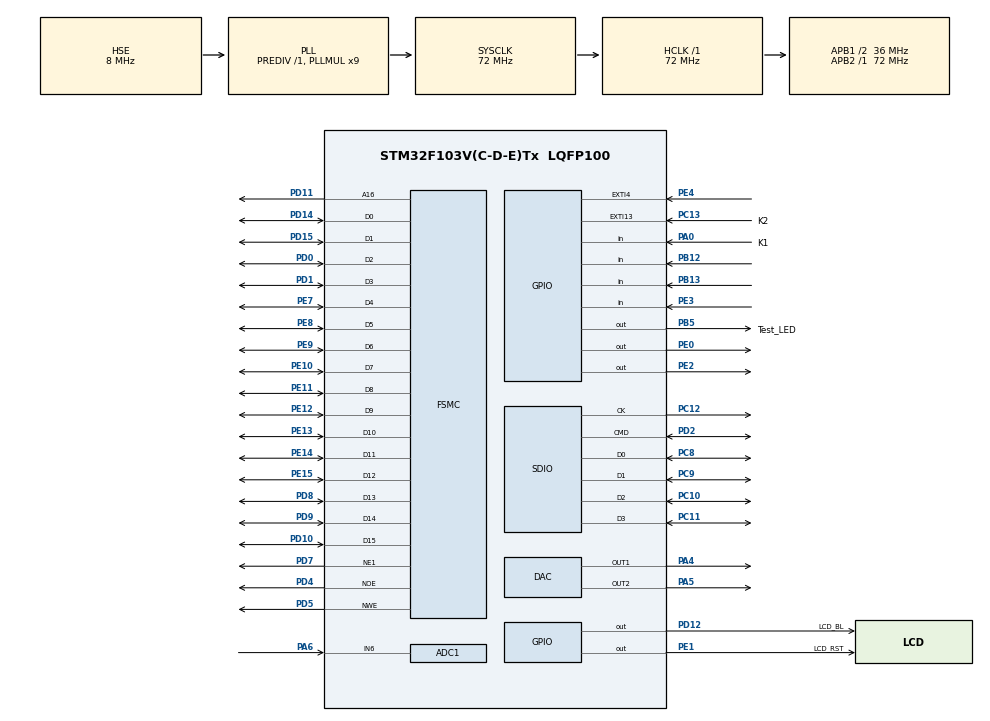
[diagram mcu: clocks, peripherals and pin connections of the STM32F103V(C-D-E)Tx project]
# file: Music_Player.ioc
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ADC1.Channel-11\#ChannelRegularConversion=ADC_CHANNEL_6
ADC1.ContinuousConvMode=ENABLE
ADC1.NbrOfConversion=1
ADC1.NbrOfConversionFlag=1
ADC1.Rank-11\#ChannelRegularConversion=1
ADC1.SamplingTime-11\#ChannelRegularConversion=ADC_SAMPLETIME_1CYCLE_5
ADC1.master=1
DAC.DAC_OutputBuffer=DAC_OUTPUTBUFFER_ENABLE
DAC.DAC_OutputBuffer2=DAC_OUTPUTBUFFER_ENABLE
DAC.DAC_Trigger=DAC_TRIGGER_T2_TRGO
DAC.DAC_Trigger2=DAC_TRIGGER_T2_TRGO
Dma.ADC1.2.Direction=DMA_PERIPH_TO_MEMORY
Dma.ADC1.2.Instance=DMA1_Channel1
Dma.ADC1.2.MemDataAlignment=DMA_MDATAALIGN_HALFWORD
Dma.ADC1.2.MemInc=DMA_MINC_DISABLE
Dma.ADC1.2.Mode=DMA_CIRCULAR
Dma.ADC1.2.PeriphDataAlignment=DMA_PDATAALIGN_HALFWORD
Dma.ADC1.2.PeriphInc=DMA_PINC_DISABLE
Dma.ADC1.2.Priority=DMA_PRIORITY_LOW
Dma.DAC_CH1.0.Direction=DMA_MEMORY_TO_PERIPH
Dma.DAC_CH1.0.Instance=DMA2_Channel3
Dma.DAC_CH1.0.MemDataAlignment=DMA_MDATAALIGN_HALFWORD
Dma.DAC_CH1.0.MemInc=DMA_MINC_ENABLE
Dma.DAC_CH1.0.Mode=DMA_NORMAL
Dma.DAC_CH1.0.PeriphDataAlignment=DMA_PDATAALIGN_HALFWORD
Dma.DAC_CH1.0.PeriphInc=DMA_PINC_DISABLE
Dma.DAC_CH1.0.Priority=DMA_PRIORITY_VERY_HIGH
Dma.DAC_CH2.1.Direction=DMA_MEMORY_TO_PERIPH
Dma.DAC_CH2.1.Instance=DMA2_Channel4
Dma.DAC_CH2.1.MemDataAlignment=DMA_MDATAALIGN_HALFWORD
Dma.DAC_CH2.1.MemInc=DMA_MINC_ENABLE
Dma.DAC_CH2.1.Mode=DMA_NORMAL
Dma.DAC_CH2.1.PeriphDataAlignment=DMA_PDATAALIGN_HALFWORD
Dma.DAC_CH2.1.PeriphInc=DMA_PINC_DISABLE
Dma.DAC_CH2.1.Priority=DMA_PRIORITY_VERY_HIGH
Dma.Request0=DAC_CH1
Dma.Request1=DAC_CH2
Dma.Request2=ADC1
FATFS._CODE_PAGE=950
FATFS._FS_LOCK=0
FATFS._FS_READONLY=1
FATFS._FS_RPATH=2
FATFS._MAX_LFN=63
FATFS._MAX_SS=4096
FATFS._USE_FIND=1
FATFS._USE_LFN=2
Mcu.Family=STM32F1
Mcu.Name=STM32F103V(C-D-E)Tx
Mcu.Package=LQFP100
NVIC.DMA1_Channel1_IRQn=true\:5\:0\:true\:false\:true\:false\:true
NVIC.DMA2_Channel3_IRQn=true\:0\:0\:true\:false\:true\:false\:true
NVIC.DMA2_Channel4_5_IRQn=true\:0\:0\:true\:false\:true\:false\:true
NVIC.EXTI15_10_IRQn=true\:1\:0\:true\:false\:true\:true\:true
NVIC.PVD_IRQn=true\:0\:0\:false\:false\:true\:true\:true
NVIC.PriorityGroup=NVIC_PRIORITYGROUP_4
NVIC.SDIO_IRQn=true\:0\:0\:false\:false\:true\:true\:true
OSC_IN.Mode=HSE-External-Oscillator
OSC_IN.Signal=RCC_OSC_IN
OSC_OUT.Mode=HSE-External-Oscillator
OSC_OUT.Signal=RCC_OSC_OUT
PA0-WKUP.GPIO_Label=K1
PA0-WKUP.Signal=GPIO_Input
PA13.Mode=Serial_Wire
PA13.Signal=SYS_JTMS-SWDIO
PA14.Mode=Serial_Wire
PA14.Signal=SYS_JTCK-SWCLK
PA4.Signal=COMP_DAC1_group
PA5.Signal=COMP_DAC2_group
PA6.Signal=ADCx_IN6
PB12.GPIO_PuPd=GPIO_PULLDOWN
PB12.Signal=GPIO_Input
PB13.GPIO_PuPd=GPIO_PULLDOWN
PB13.Signal=GPIO_Input
PB5.GPIO_Label=Test_LED
PB5.GPIO_Speed=GPIO_SPEED_FREQ_HIGH
PB5.Signal=GPIO_Output
PC10.Mode=SD_4_bits_Wide_bus
PC10.Signal=SDIO_D2
PC11.Mode=SD_4_bits_Wide_bus
PC11.Signal=SDIO_D3
PC12.Mode=SD_4_bits_Wide_bus
PC12.Signal=SDIO_CK
PC13-TAMPER-RTC.GPIO_Label=K2
PC13-TAMPER-RTC.Signal=GPXTI13
PC14-OSC32_IN.Mode=LSE-External-Oscillator
PC14-OSC32_IN.Signal=RCC_OSC32_IN
PC15-OSC32_OUT.Mode=LSE-External-Oscillator
PC15-OSC32_OUT.Signal=RCC_OSC32_OUT
PC8.Mode=SD_4_bits_Wide_bus
PC8.Signal=SDIO_D0
PC9.Mode=SD_4_bits_Wide_bus
PC9.Signal=SDIO_D1
PD0.Mode=16b-d1
PD0.Signal=FSMC_D2
PD1.Mode=16b-d1
PD1.Signal=FSMC_D3
PD10.Mode=16b-d1
PD10.Signal=FSMC_D15
PD11.Mode=A16_1
PD11.Signal=FSMC_A16
PD12.GPIO_Label=LCD_BL
PD12.GPIO_Speed=GPIO_SPEED_FREQ_HIGH
PD12.Signal=GPIO_Output
PD14.Mode=16b-d1
PD14.Signal=FSMC_D0
PD15.Mode=16b-d1
PD15.Signal=FSMC_D1
PD2.Mode=SD_4_bits_Wide_bus
PD2.Signal=SDIO_CMD
PD4.Mode=Lcd1
PD4.Signal=FSMC_NOE
PD5.Mode=Lcd1
PD5.Signal=FSMC_NWE
PD7.Mode=NorPsramChipSelect1_1
PD7.Signal=FSMC_NE1
PD8.Mode=16b-d1
PD8.Signal=FSMC_D13
PD9.Mode=16b-d1
PD9.Signal=FSMC_D14
PE0.GPIO_Speed=GPIO_SPEED_FREQ_HIGH
PE0.Signal=GPIO_Output
PE1.GPIO_Label=LCD_RST
PE1.GPIO_Speed=GPIO_SPEED_FREQ_HIGH
PE1.Signal=GPIO_Output
PE10.Mode=16b-d1
PE10.Signal=FSMC_D7
PE11.Mode=16b-d1
PE11.Signal=FSMC_D8
PE12.Mode=16b-d1
PE12.Signal=FSMC_D9
PE13.Mode=16b-d1
PE13.Signal=FSMC_D10
PE14.Mode=16b-d1
PE14.Signal=FSMC_D11
PE15.Mode=16b-d1
PE15.Signal=FSMC_D12
PE2.GPIO_Speed=GPIO_SPEED_FREQ_HIGH
PE2.Signal=GPIO_Output
PE3.Signal=GPIO_Input
PE4.Signal=GPXTI4
PE7.Mode=16b-d1
PE7.Signal=FSMC_D4
PE8.Mode=16b-d1
PE8.Signal=FSMC_D5
PE9.Mode=16b-d1
PE9.Signal=FSMC_D6
ProjectManager.HeapSize=0x200
ProjectManager.StackSize=0x4000
ProjectManager.TargetToolchain=Makefile
RCC.ADCPresc=RCC_ADCPCLK2_DIV6
RCC.AHBFreq_Value=72000000
RCC.APB1CLKDivider=RCC_HCLK_DIV2
RCC.APB1Freq_Value=36000000
RCC.APB1TimFreq_Value=72000000
RCC.APB2Freq_Value=72000000
RCC.APB2TimFreq_Value=72000000
RCC.HCLKFreq_Value=72000000
RCC.PLLMUL=RCC_PLL_MUL9
RCC.PLLSourceVirtual=RCC_PLLSOURCE_HSE
RCC.SYSCLKFreq_VALUE=72000000
RCC.SYSCLKSource=RCC_SYSCLKSOURCE_PLLCLK
RCC.USBFreq_Value=72000000
SDIO.ClockDiv=2
SH.ADCx_IN6.0=ADC1_IN6,IN6
SH.COMP_DAC1_group.0=DAC_OUT1,DAC_OUT1
SH.COMP_DAC2_group.0=DAC_OUT2,DAC_OUT2
TIM2.Period=0
TIM2.Prescaler=0
TIM2.TIM_MasterOutputTrigger=TIM_TRGO_UPDATE
VP_FATFS_VS_SDIO.Mode=SDIO
VP_TIM2_VS_ClockSourceINT.Mode=Internal
board=custom

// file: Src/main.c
/* USER CODE BEGIN Header */
/**
 ******************************************************************************
 * @file           : main.c
 * @brief          : Main program body
 ******************************************************************************
 * @attention
 *
 * <h2><center>&copy; Copyright (c) 2019 STMicroelectronics.
 * All rights reserved.</center></h2>
 *
 * This software component is licensed by ST under Ultimate Liberty license
 * SLA0044, the "License"; You may not use this file except in compliance with
 * the License. You may obtain a copy of the License at:
 *                             www.st.com/SLA0044
 *
 ******************************************************************************
 */
/* USER CODE END Header */

#include "main.h"
#include "fatfs.h"

/* USER CODE BEGIN Includes */
//Fatfs Function
#include "ff.h"
//Debug Printf for OpenOCD
#include "Trace.h"

#include "stdbool.h"
#include "UI.c"
#include "lcd.h"
#include "DIR.h"
#include "bsp_xpt2046_lcd.c"

#include "player.h"

/* USER CODE END Includes */

ADC_HandleTypeDef hadc1;
DMA_HandleTypeDef hdma_adc1;

DAC_HandleTypeDef hdac;
DMA_HandleTypeDef hdma_dac_ch1;
DMA_HandleTypeDef hdma_dac_ch2;

SD_HandleTypeDef hsd;

TIM_HandleTypeDef htim2;

SRAM_HandleTypeDef hsram1;

/* USER CODE BEGIN PV */
strType_XPT2046_Coordinate TP_Coordinate;
/* USER CODE END PV */

void SystemClock_Config(void);
static void MX_GPIO_Init(void);
static void MX_DMA_Init(void);
static void MX_FSMC_Init(void);
static void MX_SDIO_SD_Init(void);
static void MX_DAC_Init(void);
static void MX_TIM2_Init(void);
static void MX_ADC1_Init(void);

int main(void) {

	/* MCU Configuration--------------------------------------------------------*/

	/* Reset of all peripherals, Initializes the Flash interface and the Systick. */
	HAL_Init();

	/* Configure the system clock */
	SystemClock_Config();

	/* Initialize all configured peripherals */
	MX_GPIO_Init();
	MX_DMA_Init();
	MX_FSMC_Init();
	MX_SDIO_SD_Init();
	MX_FATFS_Init();
	MX_DAC_Init();
	MX_TIM2_Init();
	MX_ADC1_Init();
	/* USER CODE BEGIN 2 */
	HAL_GPIO_WritePin(GPIOB, GPIO_PIN_5, GPIO_PIN_SET);
	//Music Player codeing
	FATFS myFATAFS;
	int mount = 1;
	/*
	 * Wav:
	 * 8_Mono
	 * 8_Stereo
	 * 16_Mono
	 * 16_Stereo
	 * TEST
	 * file_example_WAV_1MG
	 * file_example_WAV_2MG
	 * file_example_WAV_5MG
	 * file_example_WAV_10MG
	 */

	mount = (f_mount(&myFATAFS, SDPath, 1) == FR_OK);
	if (mount == 1) {
//		trace_printf("Finish Mount\n");
		UI_INIT();
//		player("/Example_mono.ogg");
//		player("/Example.ogg");
//		player("/Example_mono_lowF.ogg");
//		oggPlayer("/Rudolph_The_RedNosed_Reindeer.ogg");
	}

	/* USER CODE END 2 */

	/* Infinite loop */
	/* USER CODE BEGIN WHILE */
	HAL_ADCEx_Calibration_Start(&hadc1);
//	HAL_ADC_Start(&hadc1);
	GPIO_PinState pin12, pin13;
	int barValue = 0, last = 0;
	while (1) {
		barValue = getTimePercentage();
		if (XPT2046_Get_TouchedPoint(&TP_Coordinate, &strXPT2046_TouchPara)) {
			trace_printf("kkk");
			Check_touchkey();
		}
		int K1 = HAL_GPIO_ReadPin(GPIOA, GPIO_PIN_0);
		int K2 = HAL_GPIO_ReadPin(GPIOC, GPIO_PIN_13);

		pin12 = HAL_GPIO_ReadPin(GPIOB, GPIO_PIN_12);
		pin13 = HAL_GPIO_ReadPin(GPIOB, GPIO_PIN_13);

		if (pin12) {
			cursorUP();
		}
		if (pin13) {
			cursorDown();
		}
		if (barValue != last) {
			bar_update();
		}
		last = barValue;
		/* USER CODE END WHILE */

	}
}

void SystemClock_Config(void) {
	RCC_OscInitTypeDef RCC_OscInitStruct = { 0 };
	RCC_ClkInitTypeDef RCC_ClkInitStruct = { 0 };
	RCC_PeriphCLKInitTypeDef PeriphClkInit = { 0 };

	/** Initializes the CPU, AHB and APB busses clocks
	 */
	RCC_OscInitStruct.OscillatorType = RCC_OSCILLATORTYPE_HSE;
	RCC_OscInitStruct.HSEState = RCC_HSE_ON;
	RCC_OscInitStruct.HSEPredivValue = RCC_HSE_PREDIV_DIV1;
	RCC_OscInitStruct.HSIState = RCC_HSI_ON;
	RCC_OscInitStruct.PLL.PLLState = RCC_PLL_ON;
	RCC_OscInitStruct.PLL.PLLSource = RCC_PLLSOURCE_HSE;
	RCC_OscInitStruct.PLL.PLLMUL = RCC_PLL_MUL9;
	if (HAL_RCC_OscConfig(&RCC_OscInitStruct) != HAL_OK) {
		Error_Handler();
	}
	/** Initializes the CPU, AHB and APB busses clocks
	 */
	RCC_ClkInitStruct.ClockType = RCC_CLOCKTYPE_HCLK | RCC_CLOCKTYPE_SYSCLK
			| RCC_CLOCKTYPE_PCLK1 | RCC_CLOCKTYPE_PCLK2;
	RCC_ClkInitStruct.SYSCLKSource = RCC_SYSCLKSOURCE_PLLCLK;
	RCC_ClkInitStruct.AHBCLKDivider = RCC_SYSCLK_DIV1;
	RCC_ClkInitStruct.APB1CLKDivider = RCC_HCLK_DIV2;
	RCC_ClkInitStruct.APB2CLKDivider = RCC_HCLK_DIV1;

	if (HAL_RCC_ClockConfig(&RCC_ClkInitStruct, FLASH_LATENCY_2) != HAL_OK) {
		Error_Handler();
	}
	PeriphClkInit.PeriphClockSelection = RCC_PERIPHCLK_ADC;
	PeriphClkInit.AdcClockSelection = RCC_ADCPCLK2_DIV6;
	if (HAL_RCCEx_PeriphCLKConfig(&PeriphClkInit) != HAL_OK) {
		Error_Handler();
	}
}

static void MX_ADC1_Init(void) {

	ADC_ChannelConfTypeDef sConfig = { 0 };

	/** Common config
	 */
	hadc1.Instance = ADC1;
	hadc1.Init.ScanConvMode = ADC_SCAN_DISABLE;
	hadc1.Init.ContinuousConvMode = ENABLE;
	hadc1.Init.DiscontinuousConvMode = DISABLE;
	hadc1.Init.ExternalTrigConv = ADC_SOFTWARE_START;
	hadc1.Init.DataAlign = ADC_DATAALIGN_RIGHT;
	hadc1.Init.NbrOfConversion = 1;
	if (HAL_ADC_Init(&hadc1) != HAL_OK) {
		Error_Handler();
	}
	/** Configure Regular Channel
	 */
	sConfig.Channel = ADC_CHANNEL_6;
	sConfig.Rank = ADC_REGULAR_RANK_1;
	sConfig.SamplingTime = ADC_SAMPLETIME_1CYCLE_5;
	if (HAL_ADC_ConfigChannel(&hadc1, &sConfig) != HAL_OK) {
		Error_Handler();
	}

}

static void MX_DAC_Init(void) {

	DAC_ChannelConfTypeDef sConfig = { 0 };

	/** DAC Initialization
	 */
	hdac.Instance = DAC;
	if (HAL_DAC_Init(&hdac) != HAL_OK) {
		Error_Handler();
	}
	/** DAC channel OUT1 config
	 */
	sConfig.DAC_Trigger = DAC_TRIGGER_T2_TRGO;
	sConfig.DAC_OutputBuffer = DAC_OUTPUTBUFFER_ENABLE;
	if (HAL_DAC_ConfigChannel(&hdac, &sConfig, DAC_CHANNEL_1) != HAL_OK) {
		Error_Handler();
	}
	/** DAC channel OUT2 config
	 */
	if (HAL_DAC_ConfigChannel(&hdac, &sConfig, DAC_CHANNEL_2) != HAL_OK) {
		Error_Handler();
	}

}

static void MX_SDIO_SD_Init(void) {

	hsd.Instance = SDIO;
	hsd.Init.ClockEdge = SDIO_CLOCK_EDGE_RISING;
	hsd.Init.ClockBypass = SDIO_CLOCK_BYPASS_DISABLE;
	hsd.Init.ClockPowerSave = SDIO_CLOCK_POWER_SAVE_DISABLE;
	hsd.Init.BusWide = SDIO_BUS_WIDE_1B;
	hsd.Init.HardwareFlowControl = SDIO_HARDWARE_FLOW_CONTROL_DISABLE;
	hsd.Init.ClockDiv = 2;

}

static void MX_TIM2_Init(void) {

	TIM_ClockConfigTypeDef sClockSourceConfig = { 0 };
	TIM_MasterConfigTypeDef sMasterConfig = { 0 };

	htim2.Instance = TIM2;
	htim2.Init.Prescaler = 0;
	htim2.Init.CounterMode = TIM_COUNTERMODE_UP;
	htim2.Init.Period = 0;
	htim2.Init.ClockDivision = TIM_CLOCKDIVISION_DIV1;
	htim2.Init.AutoReloadPreload = TIM_AUTORELOAD_PRELOAD_DISABLE;
	if (HAL_TIM_Base_Init(&htim2) != HAL_OK) {
		Error_Handler();
	}
	sClockSourceConfig.ClockSource = TIM_CLOCKSOURCE_INTERNAL;
	if (HAL_TIM_ConfigClockSource(&htim2, &sClockSourceConfig) != HAL_OK) {
		Error_Handler();
	}
	sMasterConfig.MasterOutputTrigger = TIM_TRGO_UPDATE;
	sMasterConfig.MasterSlaveMode = TIM_MASTERSLAVEMODE_DISABLE;
	if (HAL_TIMEx_MasterConfigSynchronization(&htim2, &sMasterConfig)
			!= HAL_OK) {
		Error_Handler();
	}

}

static void MX_DMA_Init(void) {
	/* DMA controller clock enable */
	__HAL_RCC_DMA2_CLK_ENABLE();
	__HAL_RCC_DMA1_CLK_ENABLE();

	/* DMA interrupt init */
	/* DMA1_Channel1_IRQn interrupt configuration */
	HAL_NVIC_SetPriority(DMA1_Channel1_IRQn, 5, 0);
	HAL_NVIC_EnableIRQ(DMA1_Channel1_IRQn);
	/* DMA2_Channel3_IRQn interrupt configuration */
	HAL_NVIC_SetPriority(DMA2_Channel3_IRQn, 0, 0);
	HAL_NVIC_EnableIRQ(DMA2_Channel3_IRQn);
	/* DMA2_Channel4_5_IRQn interrupt configuration */
	HAL_NVIC_SetPriority(DMA2_Channel4_5_IRQn, 0, 0);
	HAL_NVIC_EnableIRQ(DMA2_Channel4_5_IRQn);

}

static void MX_GPIO_Init(void) {
	GPIO_InitTypeDef GPIO_InitStruct = { 0 };

	/* GPIO Ports Clock Enable */
	__HAL_RCC_GPIOE_CLK_ENABLE();
	__HAL_RCC_GPIOC_CLK_ENABLE();
	__HAL_RCC_GPIOA_CLK_ENABLE();
	__HAL_RCC_GPIOB_CLK_ENABLE();
	__HAL_RCC_GPIOD_CLK_ENABLE();

	/*Configure GPIO pin Output Level */
	HAL_GPIO_WritePin(GPIOE, GPIO_PIN_2 | GPIO_PIN_0 | LCD_RST_Pin,
			GPIO_PIN_RESET);

	/*Configure GPIO pin Output Level */
	HAL_GPIO_WritePin(LCD_BL_GPIO_Port, LCD_BL_Pin, GPIO_PIN_RESET);

	/*Configure GPIO pin Output Level */
	HAL_GPIO_WritePin(Test_LED_GPIO_Port, Test_LED_Pin, GPIO_PIN_RESET);

	/*Configure GPIO pins : PE2 PE0 LCD_RST_Pin */
	GPIO_InitStruct.Pin = GPIO_PIN_2 | GPIO_PIN_0 | LCD_RST_Pin;
	GPIO_InitStruct.Mode = GPIO_MODE_OUTPUT_PP;
	GPIO_InitStruct.Pull = GPIO_NOPULL;
	GPIO_InitStruct.Speed = GPIO_SPEED_FREQ_HIGH;
	HAL_GPIO_Init(GPIOE, &GPIO_InitStruct);

	/*Configure GPIO pin : PE3 */
	GPIO_InitStruct.Pin = GPIO_PIN_3;
	GPIO_InitStruct.Mode = GPIO_MODE_INPUT;
	GPIO_InitStruct.Pull = GPIO_NOPULL;
	HAL_GPIO_Init(GPIOE, &GPIO_InitStruct);

	/*Configure GPIO pin : PE4 */
	GPIO_InitStruct.Pin = GPIO_PIN_4;
	GPIO_InitStruct.Mode = GPIO_MODE_IT_RISING;
	GPIO_InitStruct.Pull = GPIO_NOPULL;
	HAL_GPIO_Init(GPIOE, &GPIO_InitStruct);

	/*Configure GPIO pin : K2_Pin */
	GPIO_InitStruct.Pin = K2_Pin;
	GPIO_InitStruct.Mode = GPIO_MODE_IT_RISING;
	GPIO_InitStruct.Pull = GPIO_NOPULL;
	HAL_GPIO_Init(K2_GPIO_Port, &GPIO_InitStruct);

	/*Configure GPIO pin : K1_Pin */
	GPIO_InitStruct.Pin = K1_Pin;
	GPIO_InitStruct.Mode = GPIO_MODE_INPUT;
	GPIO_InitStruct.Pull = GPIO_NOPULL;
	HAL_GPIO_Init(K1_GPIO_Port, &GPIO_InitStruct);

	/*Configure GPIO pins : PB12 PB13 */
	GPIO_InitStruct.Pin = GPIO_PIN_12 | GPIO_PIN_13;
	GPIO_InitStruct.Mode = GPIO_MODE_INPUT;
	GPIO_InitStruct.Pull = GPIO_PULLDOWN;
	HAL_GPIO_Init(GPIOB, &GPIO_InitStruct);

	/*Configure GPIO pin : LCD_BL_Pin */
	GPIO_InitStruct.Pin = LCD_BL_Pin;
	GPIO_InitStruct.Mode = GPIO_MODE_OUTPUT_PP;
	GPIO_InitStruct.Pull = GPIO_NOPULL;
	GPIO_InitStruct.Speed = GPIO_SPEED_FREQ_HIGH;
	HAL_GPIO_Init(LCD_BL_GPIO_Port, &GPIO_InitStruct);

	/*Configure GPIO pin : Test_LED_Pin */
	GPIO_InitStruct.Pin = Test_LED_Pin;
	GPIO_InitStruct.Mode = GPIO_MODE_OUTPUT_PP;
	GPIO_InitStruct.Pull = GPIO_NOPULL;
	GPIO_InitStruct.Speed = GPIO_SPEED_FREQ_HIGH;
	HAL_GPIO_Init(Test_LED_GPIO_Port, &GPIO_InitStruct);

	/* EXTI interrupt init*/
	HAL_NVIC_SetPriority(EXTI15_10_IRQn, 1, 0);
	HAL_NVIC_EnableIRQ(EXTI15_10_IRQn);

}

/* FSMC initialization function */
static void MX_FSMC_Init(void) {

	FSMC_NORSRAM_TimingTypeDef Timing = { 0 };

	/** Perform the SRAM1 memory initialization sequence
	 */
	hsram1.Instance = FSMC_NORSRAM_DEVICE;
	hsram1.Extended = FSMC_NORSRAM_EXTENDED_DEVICE;
	/* hsram1.Init */
	hsram1.Init.NSBank = FSMC_NORSRAM_BANK1;
	hsram1.Init.DataAddressMux = FSMC_DATA_ADDRESS_MUX_DISABLE;
	hsram1.Init.MemoryType = FSMC_MEMORY_TYPE_SRAM;
	hsram1.Init.MemoryDataWidth = FSMC_NORSRAM_MEM_BUS_WIDTH_16;
	hsram1.Init.BurstAccessMode = FSMC_BURST_ACCESS_MODE_DISABLE;
	hsram1.Init.WaitSignalPolarity = FSMC_WAIT_SIGNAL_POLARITY_LOW;
	hsram1.Init.WrapMode = FSMC_WRAP_MODE_DISABLE;
	hsram1.Init.WaitSignalActive = FSMC_WAIT_TIMING_BEFORE_WS;
	hsram1.Init.WriteOperation = FSMC_WRITE_OPERATION_ENABLE;
	hsram1.Init.WaitSignal = FSMC_WAIT_SIGNAL_DISABLE;
	hsram1.Init.ExtendedMode = FSMC_EXTENDED_MODE_DISABLE;
	hsram1.Init.AsynchronousWait = FSMC_ASYNCHRONOUS_WAIT_DISABLE;
	hsram1.Init.WriteBurst = FSMC_WRITE_BURST_DISABLE;
	/* Timing */
	Timing.AddressSetupTime = 15;
	Timing.AddressHoldTime = 15;
	Timing.DataSetupTime = 255;
	Timing.BusTurnAroundDuration = 15;
	Timing.CLKDivision = 16;
	Timing.DataLatency = 17;
	Timing.AccessMode = FSMC_ACCESS_MODE_A;
	/* ExtTiming */

	if (HAL_SRAM_Init(&hsram1, &Timing, NULL) != HAL_OK) {
		Error_Handler();
	}

	/** Disconnect NADV
	 */

	__HAL_AFIO_FSMCNADV_DISCONNECTED();

}

void Error_Handler(void) {
}

/************************ (C) COPYRIGHT STMicroelectronics *****END OF FILE****/
